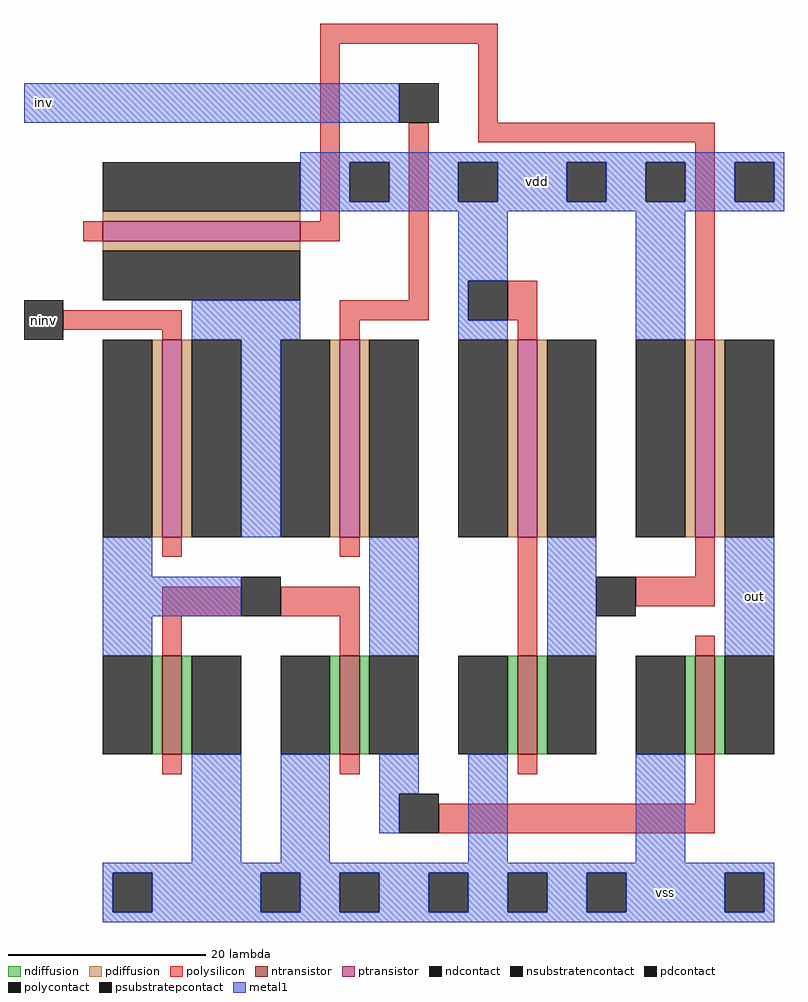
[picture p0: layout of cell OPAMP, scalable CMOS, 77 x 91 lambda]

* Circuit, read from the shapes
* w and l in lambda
.subckt OPAMP inv ninv out vdd vss
M1 vss n1 n1 vss nfet w=10 l=2
M2 n2 n1 vss vss nfet w=10 l=2
M3 n3 vdd vss vss nfet w=10 l=2
M4 out n2 vss vss nfet w=10 l=2
M5 vdd n3 n4 vdd pfet w=20 l=2
M6 n4 ninv n1 vdd pfet w=20 l=2
M7 n2 inv n4 vdd pfet w=20 l=2
M8 n3 vdd vdd vdd pfet w=20 l=2
M9 out n3 vdd vdd pfet w=20 l=2
.ends

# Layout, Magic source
magic
tech scmos
<< ntransistor >>
rect -48 -22 -46 -12
rect -30 -22 -28 -12
rect -12 -22 -10 -12
rect 6 -22 8 -12
<< ptransistor >>
rect -54 30 -34 32
rect -48 0 -46 20
rect -30 0 -28 20
rect -12 0 -10 20
rect 6 0 8 20
<< ndiffusion >>
rect -49 -22 -48 -12
rect -46 -22 -45 -12
rect -31 -22 -30 -12
rect -28 -22 -27 -12
rect -13 -22 -12 -12
rect -10 -22 -9 -12
rect 5 -22 6 -12
rect 8 -22 9 -12
<< pdiffusion >>
rect -54 32 -34 33
rect -54 29 -34 30
rect -49 0 -48 20
rect -46 0 -45 20
rect -31 0 -30 20
rect -28 0 -27 20
rect -13 0 -12 20
rect -10 0 -9 20
rect 5 0 6 20
rect 8 0 9 20
<< ndcontact >>
rect -54 -22 -49 -12
rect -45 -22 -40 -12
rect -36 -22 -31 -12
rect -27 -22 -22 -12
rect -18 -22 -13 -12
rect -9 -22 -4 -12
rect 0 -22 5 -12
rect 9 -22 14 -12
<< pdcontact >>
rect -54 33 -34 38
rect -54 24 -34 29
rect -54 0 -49 20
rect -45 0 -40 20
rect -36 0 -31 20
rect -27 0 -22 20
rect -18 0 -13 20
rect -9 0 -4 20
rect 0 0 5 20
rect 9 0 14 20
<< psubstratepcontact >>
rect -53 -38 -49 -34
rect -38 -38 -34 -34
rect -30 -38 -26 -34
rect -21 -38 -17 -34
rect -13 -38 -9 -34
rect -5 -38 -1 -34
rect 9 -38 13 -34
<< nsubstratencontact >>
rect -29 34 -25 38
rect -18 34 -14 38
rect -7 34 -3 38
rect 1 34 5 38
rect 10 34 14 38
<< polysilicon >>
rect -32 50 -14 52
rect -32 32 -30 50
rect -16 42 -14 50
rect -56 30 -54 32
rect -34 30 -30 32
rect -23 24 -21 42
rect -16 40 8 42
rect -58 21 -46 23
rect -48 20 -46 21
rect -30 22 -21 24
rect -13 22 -10 26
rect -30 20 -28 22
rect -12 20 -10 22
rect 6 20 8 40
rect -48 -2 -46 0
rect -30 -2 -28 0
rect -48 -8 -40 -5
rect -36 -8 -28 -5
rect -48 -12 -46 -8
rect -30 -12 -28 -8
rect -12 -12 -10 0
rect 6 -4 8 0
rect 0 -7 8 -4
rect 6 -12 8 -10
rect -48 -24 -46 -22
rect -30 -24 -28 -22
rect -12 -24 -10 -22
rect 6 -27 8 -22
rect -20 -30 8 -27
<< polycontact >>
rect -24 42 -20 46
rect -62 20 -58 24
rect -17 22 -13 26
rect -40 -8 -36 -4
rect -4 -8 0 -4
rect -24 -30 -20 -26
<< metal1 >>
rect -62 42 -24 46
rect -34 38 15 39
rect -34 34 -29 38
rect -25 34 -18 38
rect -14 34 -7 38
rect -3 34 1 38
rect 5 34 10 38
rect 14 34 15 38
rect -34 33 15 34
rect -45 20 -34 24
rect -18 26 -13 33
rect -18 22 -17 26
rect -18 20 -13 22
rect 0 20 5 33
rect -40 0 -36 20
rect -54 -4 -49 0
rect -54 -8 -40 -4
rect -54 -12 -49 -8
rect -27 -12 -22 0
rect -9 -12 -4 0
rect 9 -12 14 0
rect -45 -33 -40 -22
rect -36 -33 -31 -22
rect -26 -26 -22 -22
rect -26 -30 -24 -26
rect -17 -33 -13 -22
rect 0 -33 5 -22
rect -54 -34 14 -33
rect -54 -38 -53 -34
rect -49 -38 -38 -34
rect -34 -38 -30 -34
rect -26 -38 -21 -34
rect -17 -38 -13 -34
rect -9 -38 -5 -34
rect -1 -38 9 -34
rect 13 -38 14 -34
rect -54 -39 14 -38
<< labels >>
rlabel polycontact -60 22 -60 22 3 ninv
rlabel metal1 -60 44 -60 44 3 inv
rlabel metal1 -10 36 -10 36 1 vdd
rlabel metal1 3 -36 3 -36 1 vss
rlabel metal1 12 -6 12 -6 7 out
<< end >>
